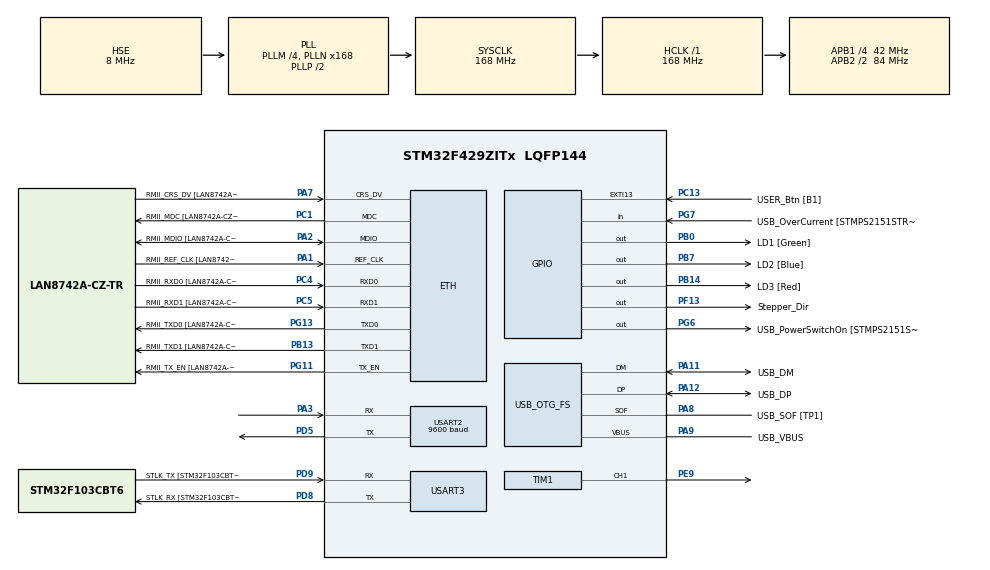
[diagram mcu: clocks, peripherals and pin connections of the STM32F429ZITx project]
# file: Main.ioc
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Dma.Request0=USART2_RX
Dma.Request1=USART2_TX
Dma.USART2_RX.0.Direction=DMA_PERIPH_TO_MEMORY
Dma.USART2_RX.0.FIFOMode=DMA_FIFOMODE_DISABLE
Dma.USART2_RX.0.Instance=DMA1_Stream5
Dma.USART2_RX.0.MemDataAlignment=DMA_MDATAALIGN_BYTE
Dma.USART2_RX.0.MemInc=DMA_MINC_ENABLE
Dma.USART2_RX.0.Mode=DMA_NORMAL
Dma.USART2_RX.0.PeriphDataAlignment=DMA_PDATAALIGN_BYTE
Dma.USART2_RX.0.PeriphInc=DMA_PINC_DISABLE
Dma.USART2_RX.0.Priority=DMA_PRIORITY_LOW
Dma.USART2_TX.1.Direction=DMA_MEMORY_TO_PERIPH
Dma.USART2_TX.1.FIFOMode=DMA_FIFOMODE_DISABLE
Dma.USART2_TX.1.Instance=DMA1_Stream6
Dma.USART2_TX.1.MemDataAlignment=DMA_MDATAALIGN_BYTE
Dma.USART2_TX.1.MemInc=DMA_MINC_ENABLE
Dma.USART2_TX.1.Mode=DMA_NORMAL
Dma.USART2_TX.1.PeriphDataAlignment=DMA_PDATAALIGN_BYTE
Dma.USART2_TX.1.PeriphInc=DMA_PINC_DISABLE
Dma.USART2_TX.1.Priority=DMA_PRIORITY_LOW
ETH.MediaInterface=HAL_ETH_RMII_MODE
ETH.PHY_Name=LAN8742A_PHY_ADDRESS
ETH.PHY_Value=0
ETH.PhyAddress=0
Mcu.Family=STM32F4
Mcu.Name=STM32F429ZITx
Mcu.Package=LQFP144
NVIC.DMA1_Stream5_IRQn=true\:1\:0\:true\:false\:true\:false\:true\:true
NVIC.DMA1_Stream6_IRQn=true\:0\:0\:false\:false\:true\:false\:true\:true
NVIC.EXTI15_10_IRQn=true\:0\:0\:true\:false\:true\:true\:true\:true
NVIC.PriorityGroup=NVIC_PRIORITYGROUP_4
NVIC.TIM1_UP_TIM10_IRQn=true\:0\:0\:true\:false\:true\:true\:true\:true
NVIC.USART2_IRQn=true\:0\:0\:false\:false\:true\:true\:true\:true
PA1.GPIO_Label=RMII_REF_CLK [LAN8742A-CZ-TR_REFCLK0]
PA1.Mode=RMII
PA1.Signal=ETH_REF_CLK
PA10.GPIO_Label=USB_ID
PA10.Signal=USB_OTG_FS_ID
PA11.GPIO_Label=USB_DM
PA11.Mode=Device_Only
PA11.Signal=USB_OTG_FS_DM
PA12.GPIO_Label=USB_DP
PA12.Mode=Device_Only
PA12.Signal=USB_OTG_FS_DP
PA13.GPIO_Label=TMS
PA13.Mode=Serial_Wire
PA13.Signal=SYS_JTMS-SWDIO
PA14.GPIO_Label=TCK
PA14.Mode=Serial_Wire
PA14.Signal=SYS_JTCK-SWCLK
PA2.GPIO_Label=RMII_MDIO [LAN8742A-CZ-TR_MDIO]
PA2.Mode=RMII
PA2.Signal=ETH_MDIO
PA3.Mode=Asynchronous
PA3.Signal=USART2_RX
PA7.GPIO_Label=RMII_CRS_DV [LAN8742A-CZ-TR_CRS_DV]
PA7.Mode=RMII
PA7.Signal=ETH_CRS_DV
PA8.GPIO_Label=USB_SOF [TP1]
PA8.Mode=Activate_SOF_FS
PA8.Signal=USB_OTG_FS_SOF
PA9.GPIO_Label=USB_VBUS
PA9.Mode=Activate_VBUS
PA9.Signal=USB_OTG_FS_VBUS
PB0.GPIO_Label=LD1 [Green]
PB0.Signal=GPIO_Output
PB13.GPIO_Label=RMII_TXD1 [LAN8742A-CZ-TR_TXD1]
PB13.Mode=RMII
PB13.Signal=ETH_TXD1
PB14.GPIO_Label=LD3 [Red]
PB14.Signal=GPIO_Output
PB7.GPIO_Label=LD2 [Blue]
PB7.Signal=GPIO_Output
PC1.GPIO_Label=RMII_MDC [LAN8742A-CZ-TR_MDC]
PC1.Mode=RMII
PC1.Signal=ETH_MDC
PC13.GPIO_Label=USER_Btn [B1]
PC13.Signal=GPXTI13
PC14/OSC32_IN.Mode=LSE-External-Oscillator
PC14/OSC32_IN.Signal=RCC_OSC32_IN
PC15/OSC32_OUT.Mode=LSE-External-Oscillator
PC15/OSC32_OUT.Signal=RCC_OSC32_OUT
PC4.GPIO_Label=RMII_RXD0 [LAN8742A-CZ-TR_RXD0]
PC4.Mode=RMII
PC4.Signal=ETH_RXD0
PC5.GPIO_Label=RMII_RXD1 [LAN8742A-CZ-TR_RXD1]
PC5.Mode=RMII
PC5.Signal=ETH_RXD1
PD5.Mode=Asynchronous
PD5.Signal=USART2_TX
PD8.GPIO_Label=STLK_RX [STM32F103CBT6_PA3]
PD8.Mode=Asynchronous
PD8.Signal=USART3_TX
PD9.GPIO_Label=STLK_TX [STM32F103CBT6_PA2]
PD9.Mode=Asynchronous
PD9.Signal=USART3_RX
PE9.Signal=S_TIM1_CH1
PF13.GPIO_Label=Stepper_Dir
PF13.GPIO_Speed=GPIO_SPEED_FREQ_HIGH
PF13.Signal=GPIO_Output
PG11.GPIO_Label=RMII_TX_EN [LAN8742A-CZ-TR_TXEN]
PG11.Mode=RMII
PG11.Signal=ETH_TX_EN
PG13.GPIO_Label=RMII_TXD0 [LAN8742A-CZ-TR_TXD0]
PG13.Mode=RMII
PG13.Signal=ETH_TXD0
PG6.GPIO_Label=USB_PowerSwitchOn [STMPS2151STR_EN]
PG6.Signal=GPIO_Output
PG7.GPIO_Label=USB_OverCurrent [STMPS2151STR_FAULT]
PG7.Signal=GPIO_Input
PH0/OSC_IN.GPIO_Label=MCO [STM32F103CBT6_PA8]
PH0/OSC_IN.Mode=HSE-External-Clock-Source
PH0/OSC_IN.Signal=RCC_OSC_IN
PH1/OSC_OUT.Mode=HSE-External-Clock-Source
PH1/OSC_OUT.Signal=RCC_OSC_OUT
ProjectManager.HeapSize=0x200
ProjectManager.StackSize=0x400
ProjectManager.TargetToolchain=STM32CubeIDE
RCC.48MHZClocksFreq_Value=48000000
RCC.AHBFreq_Value=168000000
RCC.APB1CLKDivider=RCC_HCLK_DIV4
RCC.APB1Freq_Value=42000000
RCC.APB1TimFreq_Value=84000000
RCC.APB2CLKDivider=RCC_HCLK_DIV2
RCC.APB2Freq_Value=84000000
RCC.APB2TimCLKDivider=2
RCC.APB2TimFreq_Value=168000000
RCC.CortexFreq_Value=168000000
RCC.HCLKFreq_Value=168000000
RCC.HSE_VALUE=8000000
RCC.HSI_VALUE=16000000
RCC.PLLM=4
RCC.PLLMUL=RCC_PLL_MUL9
RCC.PLLN=168
RCC.PLLQ=7
RCC.PRESCALERUSB=RCC_USBCLKSOURCE_PLL_DIV1_5
RCC.SYSCLKFreq_VALUE=168000000
RCC.SYSCLKSource=RCC_SYSCLKSOURCE_PLLCLK
RCC.SYSCLKSourceVirtual=RCC_SYSCLKSOURCE_PLLCLK
RCC.USBFreq_Value=48000000
RCC.VCOOutputFreq_Value=336000000
SH.S_TIM1_CH1.0=TIM1_CH1,PWM Generation1 CH1
TIM1.Channel-PWM\ Generation1\ CH1=TIM_CHANNEL_1
TIM1.OCMode_PWM-PWM\ Generation1\ CH1=TIM_OCMODE_PWM2
TIM1.OCPolarity_1=TIM_OCPOLARITY_LOW
TIM1.Period=1000
TIM1.Prescaler=167
TIM1.Pulse-PWM\ Generation1\ CH1=9
TIM1.TIM_MasterOutputTrigger=TIM_TRGO_UPDATE
USART2.BaudRate=9600
USART2.VirtualMode=VM_ASYNC
USART3.VirtualMode=VM_ASYNC
USB_OTG_FS.VirtualMode=Device_Only
VP_TIM1_VS_ClockSourceINT.Mode=Internal
board=NUCLEO-F429ZI

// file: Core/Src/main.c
/* USER CODE BEGIN Header */
/**
  ******************************************************************************
  * @file           : main.c
  * @brief          : Main program body
  ******************************************************************************
  * @attention
  *
  * Copyright (c) 2024 STMicroelectronics.
  * All rights reserved.
  *
  * This software is licensed under terms that can be found in the LICENSE file
  * in the root directory of this software component.
  * If no LICENSE file comes with this software, it is provided AS-IS.
  *
  ******************************************************************************
  */
/* USER CODE END Header */
#include "main.h"
#include "string.h"

/* USER CODE BEGIN Includes */
#include "stepper.h"
#include "bluetooth.h"
/* USER CODE END Includes */

/* USER CODE BEGIN PD */
//stepper
#define STEPPER_TIMER &htim1
#define STEPPER_INTERVAL 1000
//bluetooth
#define MESSAGE_LENGTH 16
#define MSG_FRONT '#'
#define MSG_END '\n'
/* USER CODE END PD */

ETH_TxPacketConfig TxConfig;
ETH_DMADescTypeDef  DMARxDscrTab[ETH_RX_DESC_CNT]; /* Ethernet Rx DMA Descriptors */
ETH_DMADescTypeDef  DMATxDscrTab[ETH_TX_DESC_CNT]; /* Ethernet Tx DMA Descriptors */

ETH_HandleTypeDef heth;

TIM_HandleTypeDef htim1;

UART_HandleTypeDef huart2;
UART_HandleTypeDef huart3;
DMA_HandleTypeDef hdma_usart2_rx;
DMA_HandleTypeDef hdma_usart2_tx;

PCD_HandleTypeDef hpcd_USB_OTG_FS;

void SystemClock_Config(void);
static void MX_GPIO_Init(void);
static void MX_DMA_Init(void);
static void MX_ETH_Init(void);
static void MX_USART3_UART_Init(void);
static void MX_USB_OTG_FS_PCD_Init(void);
static void MX_TIM1_Init(void);
static void MX_USART2_UART_Init(void);
/* USER CODE BEGIN PFP */

UART_HandleTypeDef *bt_huart = &huart2;
uint8_t receive[MESSAGE_LENGTH];
uint8_t transmit[MESSAGE_LENGTH];
uint32_t uartRxIT, uartTxIT;

uint16_t interval = 1000;
int steps;

uint8_t press, callback;
uint16_t distance = 2700;
uint8_t curr_shelf = 3, desti_shelf;

uint8_t bttry;

/* USER CODE END PFP */

/* USER CODE BEGIN 0 */
void Button_Press()
{
	press ++;
	Stepper_Set_Interval(interval);
	Stepper_Rotate(steps);
	BT_Transmit(transmit);
}

void Rotate_toShelf(uint8_t _shelf_num)
{
	desti_shelf = _shelf_num;
	Stepper_Rotate((desti_shelf-curr_shelf)*distance);
	HAL_GPIO_WritePin(LD3_GPIO_Port, LD3_Pin, SET);
}

void Process_Message(uint8_t* msg)
{
	if(msg[0] == MSG_FRONT && msg[MESSAGE_LENGTH-1] == MSG_END)
	{
		if(msg[1] == 's')
		{
			if(Stepper_Cplt() != 1)
			{
				BT_Transmit_Char("ErrorBusy**");
			}
			BT_Transmit_Char("get*****");
			uint8_t shelf_num = (msg[2]-'0')*100 + (msg[3]-'0')*10 + (msg[4]-'0');
			if(shelf_num == curr_shelf)
			{
				BT_Transmit_Char("Not Change");
				return ;
			}
			Rotate_toShelf(shelf_num);
			return ;
		}
	}
	BT_Transmit_Char("FormatErr");
	while(BT_Start_Receive() == 0)
	{
	  HAL_GPIO_TogglePin(LD1_GPIO_Port, LD1_Pin);
	  bttry++;
	}
	HAL_GPIO_WritePin(LD1_GPIO_Port, LD1_Pin, RESET);
}

/* USER CODE END 0 */

int main(void)
{

  /* MCU Configuration--------------------------------------------------------*/

  /* Reset of all peripherals, Initializes the Flash interface and the Systick. */
  HAL_Init();

  /* Configure the system clock */
  SystemClock_Config();

  /* Initialize all configured peripherals */
  MX_GPIO_Init();
  MX_DMA_Init();
  MX_ETH_Init();
  MX_USART3_UART_Init();
  MX_USB_OTG_FS_PCD_Init();
  MX_TIM1_Init();
  MX_USART2_UART_Init();
  /* USER CODE BEGIN 2 */

  Stepper_Config(STEPPER_TIMER, TIM_CHANNEL_1, STEPPER_INTERVAL, Stepper_Dir_GPIO_Port, Stepper_Dir_Pin);

  BT_Config(bt_huart, MESSAGE_LENGTH, MSG_FRONT, MSG_END);
  BT_Transmit_Char("AutoBookshelf");
  BT_Transmit_Char("Polling RESET");
  while(BT_Start_Receive() != 1)
  {
	  HAL_GPIO_TogglePin(LD1_GPIO_Port, LD1_Pin);
	  bttry++;
  }
  HAL_GPIO_WritePin(LD1_GPIO_Port, LD1_Pin, RESET);
  BT_Transmit_Char("RESET SUCCESS");
  HAL_Delay(1);
  /* USER CODE END 2 */

  /* Infinite loop */
  /* USER CODE BEGIN WHILE */
  while (1)
  {
	  if(steps != 0)
	  {
		  Stepper_Set_Interval(interval);
		  Stepper_Rotate(steps);
		  steps = 0;
	  }
		HAL_GPIO_TogglePin(LD2_GPIO_Port, LD2_Pin);
		HAL_Delay(200);
    /* USER CODE END WHILE */

  }
}

void SystemClock_Config(void)
{
  RCC_OscInitTypeDef RCC_OscInitStruct = {0};
  RCC_ClkInitTypeDef RCC_ClkInitStruct = {0};

  /** Configure the main internal regulator output voltage
  */
  __HAL_RCC_PWR_CLK_ENABLE();
  __HAL_PWR_VOLTAGESCALING_CONFIG(PWR_REGULATOR_VOLTAGE_SCALE1);

  /** Initializes the RCC Oscillators according to the specified parameters
  * in the RCC_OscInitTypeDef structure.
  */
  RCC_OscInitStruct.OscillatorType = RCC_OSCILLATORTYPE_HSE;
  RCC_OscInitStruct.HSEState = RCC_HSE_BYPASS;
  RCC_OscInitStruct.PLL.PLLState = RCC_PLL_ON;
  RCC_OscInitStruct.PLL.PLLSource = RCC_PLLSOURCE_HSE;
  RCC_OscInitStruct.PLL.PLLM = 4;
  RCC_OscInitStruct.PLL.PLLN = 168;
  RCC_OscInitStruct.PLL.PLLP = RCC_PLLP_DIV2;
  RCC_OscInitStruct.PLL.PLLQ = 7;
  if (HAL_RCC_OscConfig(&RCC_OscInitStruct) != HAL_OK)
  {
    Error_Handler();
  }

  /** Initializes the CPU, AHB and APB buses clocks
  */
  RCC_ClkInitStruct.ClockType = RCC_CLOCKTYPE_HCLK|RCC_CLOCKTYPE_SYSCLK
                              |RCC_CLOCKTYPE_PCLK1|RCC_CLOCKTYPE_PCLK2;
  RCC_ClkInitStruct.SYSCLKSource = RCC_SYSCLKSOURCE_PLLCLK;
  RCC_ClkInitStruct.AHBCLKDivider = RCC_SYSCLK_DIV1;
  RCC_ClkInitStruct.APB1CLKDivider = RCC_HCLK_DIV4;
  RCC_ClkInitStruct.APB2CLKDivider = RCC_HCLK_DIV2;

  if (HAL_RCC_ClockConfig(&RCC_ClkInitStruct, FLASH_LATENCY_5) != HAL_OK)
  {
    Error_Handler();
  }
}

static void MX_ETH_Init(void)
{

   static uint8_t MACAddr[6];

  heth.Instance = ETH;
  MACAddr[0] = 0x00;
  MACAddr[1] = 0x80;
  MACAddr[2] = 0xE1;
  MACAddr[3] = 0x00;
  MACAddr[4] = 0x00;
  MACAddr[5] = 0x00;
  heth.Init.MACAddr = &MACAddr[0];
  heth.Init.MediaInterface = HAL_ETH_RMII_MODE;
  heth.Init.TxDesc = DMATxDscrTab;
  heth.Init.RxDesc = DMARxDscrTab;
  heth.Init.RxBuffLen = 1524;

  if (HAL_ETH_Init(&heth) != HAL_OK)
  {
    Error_Handler();
  }

  memset(&TxConfig, 0 , sizeof(ETH_TxPacketConfig));
  TxConfig.Attributes = ETH_TX_PACKETS_FEATURES_CSUM | ETH_TX_PACKETS_FEATURES_CRCPAD;
  TxConfig.ChecksumCtrl = ETH_CHECKSUM_IPHDR_PAYLOAD_INSERT_PHDR_CALC;
  TxConfig.CRCPadCtrl = ETH_CRC_PAD_INSERT;

}

static void MX_TIM1_Init(void)
{

  TIM_ClockConfigTypeDef sClockSourceConfig = {0};
  TIM_MasterConfigTypeDef sMasterConfig = {0};
  TIM_OC_InitTypeDef sConfigOC = {0};
  TIM_BreakDeadTimeConfigTypeDef sBreakDeadTimeConfig = {0};

  htim1.Instance = TIM1;
  htim1.Init.Prescaler = 167;
  htim1.Init.CounterMode = TIM_COUNTERMODE_UP;
  htim1.Init.Period = 1000;
  htim1.Init.ClockDivision = TIM_CLOCKDIVISION_DIV1;
  htim1.Init.RepetitionCounter = 0;
  htim1.Init.AutoReloadPreload = TIM_AUTORELOAD_PRELOAD_DISABLE;
  if (HAL_TIM_Base_Init(&htim1) != HAL_OK)
  {
    Error_Handler();
  }
  sClockSourceConfig.ClockSource = TIM_CLOCKSOURCE_INTERNAL;
  if (HAL_TIM_ConfigClockSource(&htim1, &sClockSourceConfig) != HAL_OK)
  {
    Error_Handler();
  }
  if (HAL_TIM_PWM_Init(&htim1) != HAL_OK)
  {
    Error_Handler();
  }
  sMasterConfig.MasterOutputTrigger = TIM_TRGO_UPDATE;
  sMasterConfig.MasterSlaveMode = TIM_MASTERSLAVEMODE_DISABLE;
  if (HAL_TIMEx_MasterConfigSynchronization(&htim1, &sMasterConfig) != HAL_OK)
  {
    Error_Handler();
  }
  sConfigOC.OCMode = TIM_OCMODE_PWM2;
  sConfigOC.Pulse = 9;
  sConfigOC.OCPolarity = TIM_OCPOLARITY_LOW;
  sConfigOC.OCNPolarity = TIM_OCNPOLARITY_HIGH;
  sConfigOC.OCFastMode = TIM_OCFAST_DISABLE;
  sConfigOC.OCIdleState = TIM_OCIDLESTATE_RESET;
  sConfigOC.OCNIdleState = TIM_OCNIDLESTATE_RESET;
  if (HAL_TIM_PWM_ConfigChannel(&htim1, &sConfigOC, TIM_CHANNEL_1) != HAL_OK)
  {
    Error_Handler();
  }
  sBreakDeadTimeConfig.OffStateRunMode = TIM_OSSR_DISABLE;
  sBreakDeadTimeConfig.OffStateIDLEMode = TIM_OSSI_DISABLE;
  sBreakDeadTimeConfig.LockLevel = TIM_LOCKLEVEL_OFF;
  sBreakDeadTimeConfig.DeadTime = 0;
  sBreakDeadTimeConfig.BreakState = TIM_BREAK_DISABLE;
  sBreakDeadTimeConfig.BreakPolarity = TIM_BREAKPOLARITY_HIGH;
  sBreakDeadTimeConfig.AutomaticOutput = TIM_AUTOMATICOUTPUT_DISABLE;
  if (HAL_TIMEx_ConfigBreakDeadTime(&htim1, &sBreakDeadTimeConfig) != HAL_OK)
  {
    Error_Handler();
  }
  HAL_TIM_MspPostInit(&htim1);

}

static void MX_USART2_UART_Init(void)
{

  huart2.Instance = USART2;
  huart2.Init.BaudRate = 9600;
  huart2.Init.WordLength = UART_WORDLENGTH_8B;
  huart2.Init.StopBits = UART_STOPBITS_1;
  huart2.Init.Parity = UART_PARITY_NONE;
  huart2.Init.Mode = UART_MODE_TX_RX;
  huart2.Init.HwFlowCtl = UART_HWCONTROL_NONE;
  huart2.Init.OverSampling = UART_OVERSAMPLING_16;
  if (HAL_UART_Init(&huart2) != HAL_OK)
  {
    Error_Handler();
  }

}

static void MX_USART3_UART_Init(void)
{

  huart3.Instance = USART3;
  huart3.Init.BaudRate = 115200;
  huart3.Init.WordLength = UART_WORDLENGTH_8B;
  huart3.Init.StopBits = UART_STOPBITS_1;
  huart3.Init.Parity = UART_PARITY_NONE;
  huart3.Init.Mode = UART_MODE_TX_RX;
  huart3.Init.HwFlowCtl = UART_HWCONTROL_NONE;
  huart3.Init.OverSampling = UART_OVERSAMPLING_16;
  if (HAL_UART_Init(&huart3) != HAL_OK)
  {
    Error_Handler();
  }

}

static void MX_USB_OTG_FS_PCD_Init(void)
{

  hpcd_USB_OTG_FS.Instance = USB_OTG_FS;
  hpcd_USB_OTG_FS.Init.dev_endpoints = 4;
  hpcd_USB_OTG_FS.Init.speed = PCD_SPEED_FULL;
  hpcd_USB_OTG_FS.Init.dma_enable = DISABLE;
  hpcd_USB_OTG_FS.Init.phy_itface = PCD_PHY_EMBEDDED;
  hpcd_USB_OTG_FS.Init.Sof_enable = ENABLE;
  hpcd_USB_OTG_FS.Init.low_power_enable = DISABLE;
  hpcd_USB_OTG_FS.Init.lpm_enable = DISABLE;
  hpcd_USB_OTG_FS.Init.vbus_sensing_enable = ENABLE;
  hpcd_USB_OTG_FS.Init.use_dedicated_ep1 = DISABLE;
  if (HAL_PCD_Init(&hpcd_USB_OTG_FS) != HAL_OK)
  {
    Error_Handler();
  }

}

static void MX_DMA_Init(void)
{

  /* DMA controller clock enable */
  __HAL_RCC_DMA1_CLK_ENABLE();

  /* DMA interrupt init */
  /* DMA1_Stream5_IRQn interrupt configuration */
  HAL_NVIC_SetPriority(DMA1_Stream5_IRQn, 1, 0);
  HAL_NVIC_EnableIRQ(DMA1_Stream5_IRQn);
  /* DMA1_Stream6_IRQn interrupt configuration */
  HAL_NVIC_SetPriority(DMA1_Stream6_IRQn, 0, 0);
  HAL_NVIC_EnableIRQ(DMA1_Stream6_IRQn);

}

static void MX_GPIO_Init(void)
{
  GPIO_InitTypeDef GPIO_InitStruct = {0};

  /* GPIO Ports Clock Enable */
  __HAL_RCC_GPIOC_CLK_ENABLE();
  __HAL_RCC_GPIOH_CLK_ENABLE();
  __HAL_RCC_GPIOA_CLK_ENABLE();
  __HAL_RCC_GPIOB_CLK_ENABLE();
  __HAL_RCC_GPIOF_CLK_ENABLE();
  __HAL_RCC_GPIOE_CLK_ENABLE();
  __HAL_RCC_GPIOD_CLK_ENABLE();
  __HAL_RCC_GPIOG_CLK_ENABLE();

  /*Configure GPIO pin Output Level */
  HAL_GPIO_WritePin(GPIOB, LD1_Pin|LD3_Pin|LD2_Pin, GPIO_PIN_RESET);

  /*Configure GPIO pin Output Level */
  HAL_GPIO_WritePin(Stepper_Dir_GPIO_Port, Stepper_Dir_Pin, GPIO_PIN_RESET);

  /*Configure GPIO pin Output Level */
  HAL_GPIO_WritePin(USB_PowerSwitchOn_GPIO_Port, USB_PowerSwitchOn_Pin, GPIO_PIN_RESET);

  /*Configure GPIO pin : USER_Btn_Pin */
  GPIO_InitStruct.Pin = USER_Btn_Pin;
  GPIO_InitStruct.Mode = GPIO_MODE_IT_RISING;
  GPIO_InitStruct.Pull = GPIO_NOPULL;
  HAL_GPIO_Init(USER_Btn_GPIO_Port, &GPIO_InitStruct);

  /*Configure GPIO pins : LD1_Pin LD3_Pin LD2_Pin */
  GPIO_InitStruct.Pin = LD1_Pin|LD3_Pin|LD2_Pin;
  GPIO_InitStruct.Mode = GPIO_MODE_OUTPUT_PP;
  GPIO_InitStruct.Pull = GPIO_NOPULL;
  GPIO_InitStruct.Speed = GPIO_SPEED_FREQ_LOW;
  HAL_GPIO_Init(GPIOB, &GPIO_InitStruct);

  /*Configure GPIO pin : Stepper_Dir_Pin */
  GPIO_InitStruct.Pin = Stepper_Dir_Pin;
  GPIO_InitStruct.Mode = GPIO_MODE_OUTPUT_PP;
  GPIO_InitStruct.Pull = GPIO_NOPULL;
  GPIO_InitStruct.Speed = GPIO_SPEED_FREQ_HIGH;
  HAL_GPIO_Init(Stepper_Dir_GPIO_Port, &GPIO_InitStruct);

  /*Configure GPIO pin : USB_PowerSwitchOn_Pin */
  GPIO_InitStruct.Pin = USB_PowerSwitchOn_Pin;
  GPIO_InitStruct.Mode = GPIO_MODE_OUTPUT_PP;
  GPIO_InitStruct.Pull = GPIO_NOPULL;
  GPIO_InitStruct.Speed = GPIO_SPEED_FREQ_LOW;
  HAL_GPIO_Init(USB_PowerSwitchOn_GPIO_Port, &GPIO_InitStruct);

  /*Configure GPIO pin : USB_OverCurrent_Pin */
  GPIO_InitStruct.Pin = USB_OverCurrent_Pin;
  GPIO_InitStruct.Mode = GPIO_MODE_INPUT;
  GPIO_InitStruct.Pull = GPIO_NOPULL;
  HAL_GPIO_Init(USB_OverCurrent_GPIO_Port, &GPIO_InitStruct);

  /* EXTI interrupt init*/
  HAL_NVIC_SetPriority(EXTI15_10_IRQn, 0, 0);
  HAL_NVIC_EnableIRQ(EXTI15_10_IRQn);

}

/* USER CODE BEGIN 4 */

void HAL_TIM_PeriodElapsedCallback(TIM_HandleTypeDef *htim)
{
	if(htim == STEPPER_TIMER)
	{
		Stepper_Step_Cplt();
	}
}

void Stepper_Rotate_Cplt_CB()
{
	callback++;
	HAL_GPIO_WritePin(LD3_GPIO_Port, LD3_Pin, RESET);
	curr_shelf = desti_shelf;
	BT_Transmit_Char("rotate cplt");
}

void HAL_GPIO_EXTI_Callback(uint16_t GPIO_Pin)
{
	if(GPIO_Pin == USER_Btn_Pin)
	{
		press++;
		Button_Press();
	}
}

void HAL_UART_TxCpltCallback(UART_HandleTypeDef *huart)
{
	if(huart == bt_huart)
	{
		BT_Tx_Cplt();
		HAL_GPIO_WritePin(LD1_GPIO_Port, LD1_Pin, RESET);
	}
}

void HAL_UART_RxCpltCallback(UART_HandleTypeDef *huart)
{
  if(huart == bt_huart)
  {
	  const uint8_t *tmp;
	  tmp = BT_Rx_Cplt();
	  memcpy(receive, tmp, MESSAGE_LENGTH);
	  Process_Message(receive);
	  HAL_GPIO_TogglePin(LD1_GPIO_Port, LD1_Pin);
  }
}

/* USER CODE END 4 */

void Error_Handler(void)
{
  __disable_irq();
  while (1)
  {
  }
}
